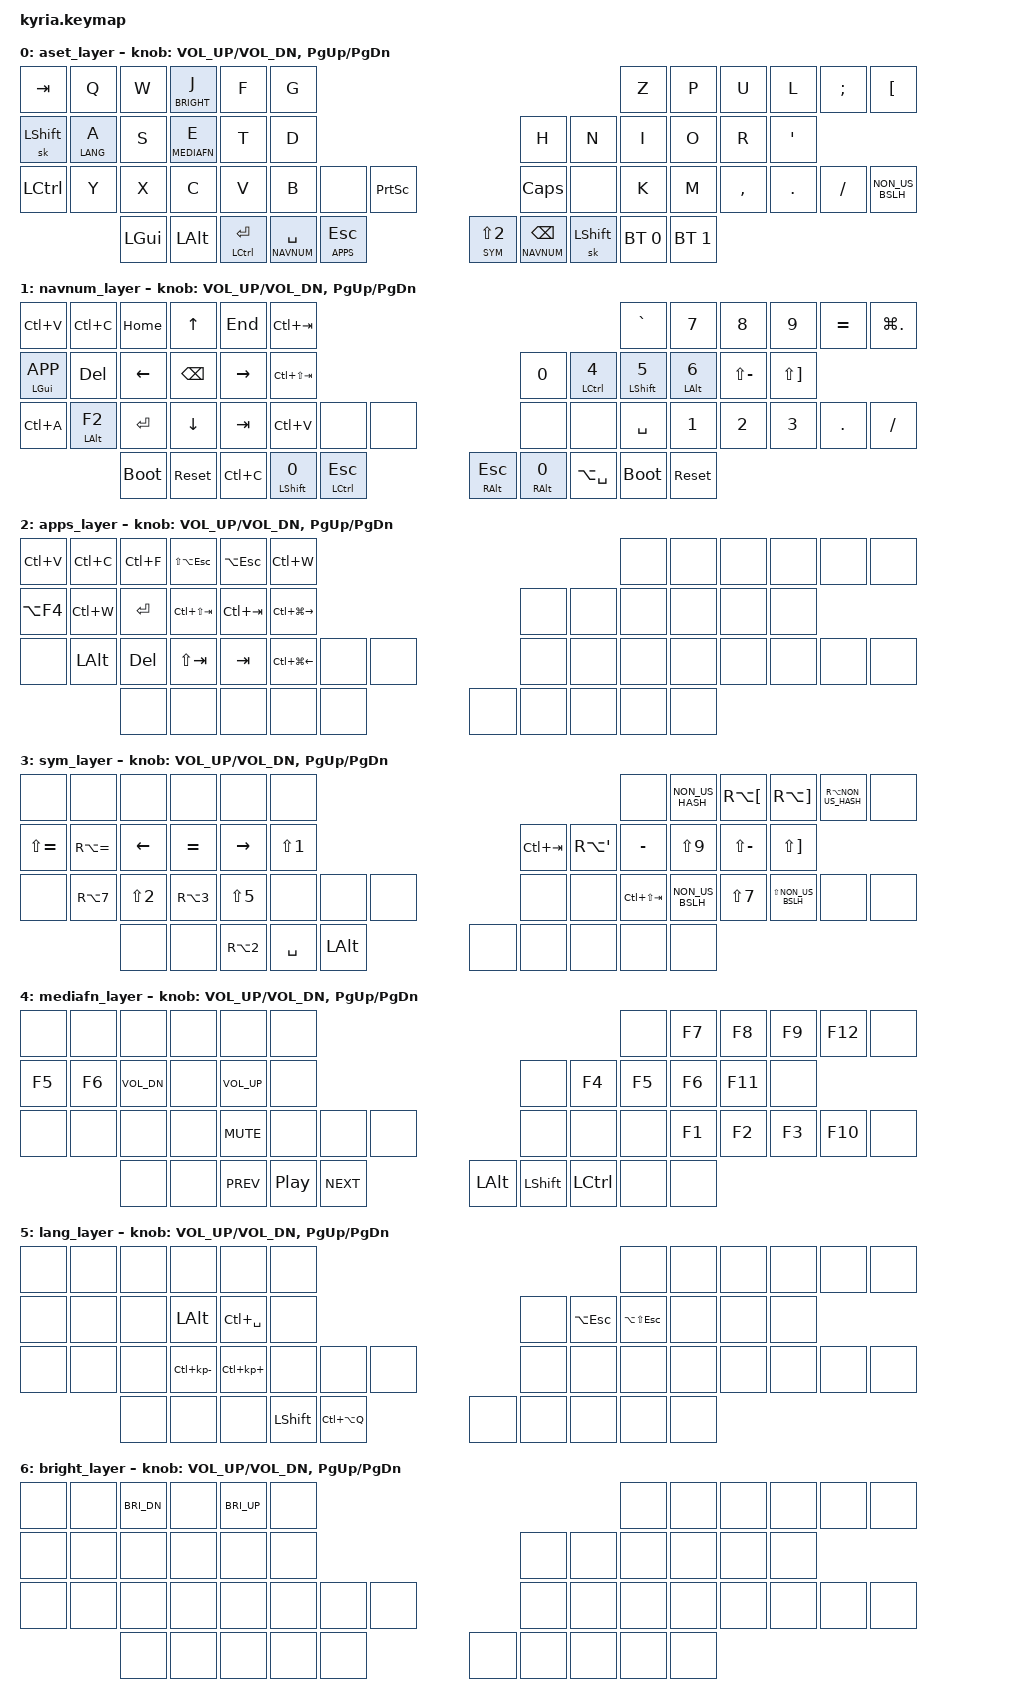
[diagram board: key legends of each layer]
/*
 * Copyright (c) 2020 The ZMK Contributors
 *
 * SPDX-License-Identifier: MIT
 */

#include <behaviors.dtsi>
#include <dt-bindings/zmk/keys.h>
#include <dt-bindings/zmk/bt.h>

#define ASET 0
#define NAVNUM 1
#define APPS 2
#define SYM 3
#define MEDIAFN 4
#define LANG 5
#define BRIGHT 6



/ {
	keymap {
		compatible = "zmk,keymap";

		aset_layer {

			bindings = <	
	&kp TAB   &kp Q &kp W &lt BRIGHT J &kp F &kp G                                                                    &kp Z &kp P  &kp U     &kp L   &kp SEMI    &kp LEFT_BRACKET
	&sk LSHFT   &lt LANG A &kp S &lt MEDIAFN E &kp T &kp D                                                          &kp H &kp N  &kp I     &kp O   &kp R &kp SQT
	&kp LCTRL &kp Y &kp X &kp C &kp V &kp B &none &kp PSCRN                             &kp CAPS &none &kp K &kp M  &kp COMMA &kp DOT &kp FSLH &kp NON_US_BSLH
	                 &kp LGUI &kp LALT &mt LCTRL ENTER &lt NAVNUM SPACE &lt APPS ESC        &lt SYM LS(N2) &lt NAVNUM BSPC &sk LSHFT &bt BT_SEL 0 &bt BT_SEL 1
			>;

			sensor-bindings = <&inc_dec_kp C_VOL_UP C_VOL_DN &inc_dec_kp PG_UP PG_DN>;
		};

		compatible = "zmk,keymap";

		navnum_layer {

			bindings = <
			&kp LC(V) &kp LC(C) &kp HOME &kp UP &kp END &kp LC(TAB) 				&kp GRAVE &kp N7 &kp N8 &kp N9 &kp EQUAL &kp LG(DOT)
			&mt LGUI K_APP &kp DEL &kp LEFT &kp BSPC &kp RIGHT &kp LC(LS(TAB)) 				&kp N0 &mt LCTRL N4 &mt LSHFT N5 &mt LALT N6  &kp LS(MINUS) &kp LS(RBKT)
			&kp LC(A) &mt LALT F2 &kp ENTER &kp DOWN &kp TAB &kp LC(V) &none &none 		&none &none &kp SPACE &kp N1 &kp N2 &kp N3 &kp DOT &kp FSLH  
				&bootloader &sys_reset &kp LC(C) &mt LSHFT N0 &mt LCTRL ESC			&mt RALT ESC &mt RALT N0 &kp LA(SPACE) &bootloader &sys_reset 
			
			>;

			sensor-bindings = <&inc_dec_kp C_VOL_UP C_VOL_DN &inc_dec_kp PG_UP PG_DN>;
		};

		compatible = "zmk,keymap";

		apps_layer {

			bindings = <
			&kp LC(V) &kp LC(C) &kp LC(F) &kp LS(LA(ESC)) &kp LA(ESC) &kp LC(W) 				&none &none &none &none &none &none 
			&kp LA(F4) &kp LC(W) &kp ENTER &kp LC(LS(TAB)) &kp LC(TAB) &kp LC(LG(RIGHT)) 				&none &none &none &none &none &none
			&none &kp LALT &kp DEL &kp LS(TAB) &kp TAB  &kp LC(LG(LEFT)) &none &none 		&none &none &none &none &none &none &none &none 
				    &none &none &none &none &none &none &none &none &none &none 
			>;

			sensor-bindings = <&inc_dec_kp C_VOL_UP C_VOL_DN &inc_dec_kp PG_UP PG_DN>;
		};

		compatible = "zmk,keymap";

		sym_layer {

			bindings = <
			&none &none &none &none &none &none 				&none &kp NON_US_HASH &kp RA(LBKT) &kp RA(RBKT) &kp RA(NON_US_HASH) &none 
			&kp LS(EQUAL) &kp RA(EQUAL) &kp LEFT &kp EQUAL &kp RIGHT &kp LS(N1) 				&kp LC(TAB) &kp RA(SQT) &kp MINUS &kp LS(N9) &kp LS(MINUS) &kp LS(RBKT)
			&none &kp RA(N7) &kp LS(N2) &kp RA(N3) &kp LS(N5) &none &none &none 		&none &none &kp LC(LS(TAB)) &kp NON_US_BSLH &kp LS(N7) &kp LS(NON_US_BSLH) &none &none 
				    &none &none &kp RA(N2) &kp SPACE &kp LALT	        	&none &none &none &none &none 
			>;

			sensor-bindings = <&inc_dec_kp C_VOL_UP C_VOL_DN &inc_dec_kp PG_UP PG_DN>;
		};

		compatible = "zmk,keymap";

		mediafn_layer {

			bindings = <
			&none &none &none &none &none &none				                    &none &kp F7 &kp F8 &kp F9 &kp F12 &none 
			&kp F5 &kp F6 &kp C_VOL_DN &none &kp C_VOL_UP &none 				    &none &kp F4 &kp F5 &kp F6 &kp F11 &none 
			&none &none &none &none &kp C_MUTE &none &none &none                    &none &none &none &kp F1 &kp F2 &kp F3 &kp F10 &none 
					&none &none &kp C_PREV &kp C_PLAY_PAUSE &kp C_NEXT  &kp LALT &kp LSHFT &kp LCTRL &none &none 
			>;

			sensor-bindings = <&inc_dec_kp C_VOL_UP C_VOL_DN &inc_dec_kp PG_UP PG_DN>;
		};

		compatible = "zmk,keymap";

		lang_layer {

			bindings = <
			&none &none &none &none &none &none				                    &none &none &none  &none &none &none 
			&none &none &none &kp LALT &kp LC(SPACE) &none 				    &none &kp LA(ESC) &kp LA(LS(ESC)) &none &none &none 
			&none &none &none &kp LC(KP_MINUS) &kp LC(KP_PLUS) &none &none &none            &none &none &none &none &none &none &none &none 
					&none &none &none &kp LSHIFT &kp LC(LA(Q))  &none &none &none &none &none 
			>;

			sensor-bindings = <&inc_dec_kp C_VOL_UP C_VOL_DN &inc_dec_kp PG_UP PG_DN>;
		};
	
		compatible = "zmk,keymap";

		bright_layer {

			bindings = <
			&none &none &kp C_BRI_DN &none &kp C_BRI_UP &none				       &none &none &none &none &none &none 
			&none &none &none &none &none &none 				       &none &none &none &none &none &none 
			&none &none &none &none &none &none &none &none            &none &none &none &none &none &none &none &none 
					  &none &none &none &none &none            &none &none &none &none &none 
			>;

			sensor-bindings = <&inc_dec_kp C_VOL_UP C_VOL_DN &inc_dec_kp PG_UP PG_DN>;
		};
	};

	
};
